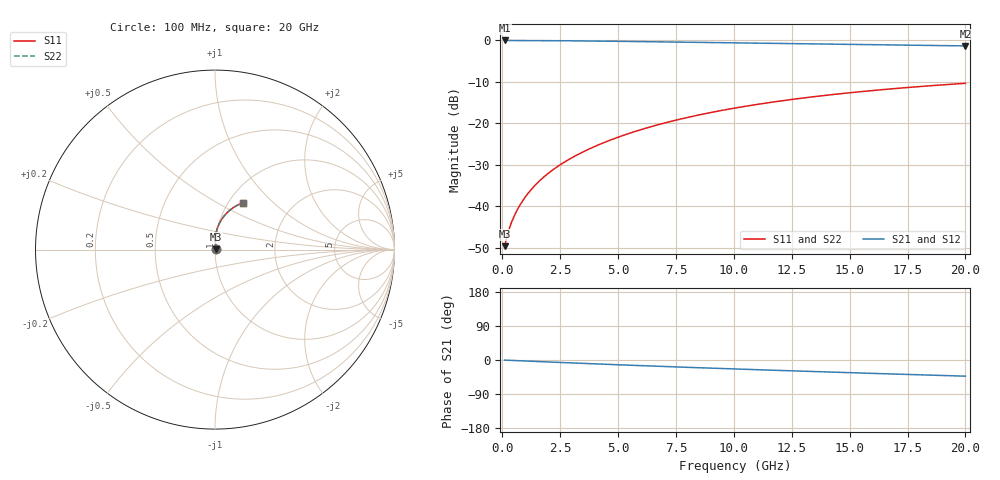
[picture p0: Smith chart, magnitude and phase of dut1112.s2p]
! Touchstone file exported from HFSS 2024.1.0
!  File:  C:/UserFiles/LocalFiles/RDL_TSV_Batchsim/temp_RDL_bottom_1112_1780054499.aedt
!  Generated:  07:37:12 PM May 29, 2026
!  Design:  RDL_bottom
!  Project:  temp_RDL_bottom_1112_1780054499
!  Setup:  Setup1
!  Solution:  Sweep
! Variables:
!  dtsv = 10.80580581um
!  hbump = 3um
!  htsv = 63.62um
!  ldown = 672.62um
!  lrdl = 100um
!  p = 40
!  p1 = 44.09um
!  rhole = 1um
!  t = 450um
!  tdown = 3.44um
!  trdl = 3.915915916um
!  wdown = 25.86um
!  wrdl = 20um
# GHz S MA R 50.000000
! Terminal data exported
! Port[1] = RDL1_T1
! Port[2] = RDL1_T2
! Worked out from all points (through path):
!   200 points, 100 MHz to 20 GHz, reference 50 ohm
!   highest |S21| = -0.03 dB at 100 MHz (marker M1); lowest = -1.3 dB at 20 GHz (marker M2)
!   group delay of S21, straight-line fit = 5.85 ps
!   lowest |S11| = -49.6 dB at 100 MHz (marker M3), VSWR 1.01, Z = 50.3 + j0.154 ohm
!   |S11| at or under -10 dB: start of sweep to end of sweep
!   |S22| runs from -49.6 to -10.4 dB; largest |S21 - S12| = 4.3e-15
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0.1  0.003306 27.5  0.9971 -0.3  0.9971 -0.3  0.003306 27.5
! Gamma 0 0 0 0
! Port Impedance 50 0 50 0
0.2  0.00429 43.0  0.9968 -0.6  0.9968 -0.6  0.00429 43.0
0.3  0.00536 51.5  0.9965 -0.8  0.9965 -0.8  0.00536 51.5
0.4  0.006421 57.1  0.9963 -1.1  0.9963 -1.1  0.006421 57.1
0.5  0.007481 61.4  0.9961 -1.3  0.9961 -1.3  0.007481 61.4
0.8  0.01075 70.1  0.9954 -2.1  0.9954 -2.1  0.01075 70.1
1  0.01301 73.8  0.995 -2.6  0.995 -2.6  0.01301 73.8
1.2  0.01534 76.5  0.9945 -3.2  0.9945 -3.2  0.01534 76.5
1.7  0.02139 81.1  0.993 -4.4  0.993 -4.4  0.02139 81.1
2.2  0.02772 83.8  0.991 -5.7  0.991 -5.7  0.02772 83.7
2.8  0.03567 85.7  0.9881 -7.2  0.9881 -7.2  0.03566 85.7
3.5  0.04543 87.0  0.984 -9.0  0.984 -9.0  0.04542 87.0
4.2  0.0557 87.6  0.9794 -10.7  0.9794 -10.7  0.05569 87.5
5  0.06801 87.5  0.9736 -12.6  0.9736 -12.6  0.06799 87.5
5.9  0.08245 86.9  0.9667 -14.7  0.9667 -14.7  0.08242 86.9
6.8  0.09737 85.9  0.9595 -16.7  0.9595 -16.7  0.09734 85.9
8.4  0.1246 83.3  0.9463 -20.2  0.9463 -20.2  0.1245 83.3
10.1  0.1537 79.9  0.9325 -23.8  0.9325 -23.8  0.1536 79.9
11.7  0.1807 76.6  0.9196 -27.0  0.9196 -27.0  0.1806 76.6
13.4  0.2085 72.9  0.9063 -30.4  0.9063 -30.4  0.2084 72.9
16.7  0.2588 65.9  0.8812 -36.7  0.8812 -36.7  0.2587 65.9
20  0.3036 59.2  0.8571 -42.7  0.8571 -42.7  0.3035 59.2
